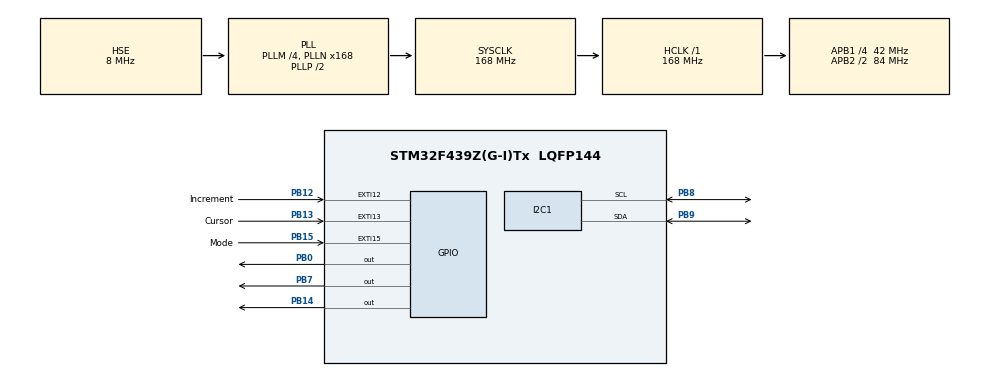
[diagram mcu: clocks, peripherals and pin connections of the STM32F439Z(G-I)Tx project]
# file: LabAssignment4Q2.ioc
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Mcu.Family=STM32F4
Mcu.Name=STM32F439Z(G-I)Tx
Mcu.Package=LQFP144
NVIC.EXTI15_10_IRQn=true\:0\:0\:false\:false\:true\:true\:true\:true
NVIC.I2C1_ER_IRQn=true\:0\:0\:false\:false\:true\:true\:true\:true
NVIC.I2C1_EV_IRQn=true\:0\:0\:false\:false\:true\:true\:true\:true
NVIC.PriorityGroup=NVIC_PRIORITYGROUP_4
NVIC.RTC_Alarm_IRQn=true\:0\:0\:false\:false\:true\:true\:true\:true
NVIC.TIM2_IRQn=true\:0\:0\:false\:false\:true\:true\:true\:true
PB0.Signal=GPIO_Output
PB12.GPIO_Label=Increment
PB12.GPIO_ModeDefaultEXTI=GPIO_MODE_IT_FALLING
PB12.GPIO_PuPd=GPIO_PULLUP
PB12.Signal=GPXTI12
PB13.GPIO_Label=Cursor
PB13.GPIO_ModeDefaultEXTI=GPIO_MODE_IT_FALLING
PB13.GPIO_PuPd=GPIO_PULLUP
PB13.Signal=GPXTI13
PB14.Signal=GPIO_Output
PB15.GPIO_Label=Mode
PB15.GPIO_ModeDefaultEXTI=GPIO_MODE_IT_FALLING
PB15.GPIO_PuPd=GPIO_PULLUP
PB15.Signal=GPXTI15
PB7.Signal=GPIO_Output
PB8.Mode=I2C
PB8.Signal=I2C1_SCL
PB9.Mode=I2C
PB9.Signal=I2C1_SDA
PH0/OSC_IN.Mode=HSE-External-Oscillator
PH0/OSC_IN.Signal=RCC_OSC_IN
PH1/OSC_OUT.Mode=HSE-External-Oscillator
PH1/OSC_OUT.Signal=RCC_OSC_OUT
ProjectManager.HeapSize=0x200
ProjectManager.StackSize=0x400
ProjectManager.TargetToolchain=STM32CubeIDE
RCC.48MHZClocksFreq_Value=48000000
RCC.AHBFreq_Value=168000000
RCC.APB1CLKDivider=RCC_HCLK_DIV4
RCC.APB1Freq_Value=42000000
RCC.APB1TimFreq_Value=84000000
RCC.APB2CLKDivider=RCC_HCLK_DIV2
RCC.APB2Freq_Value=84000000
RCC.APB2TimCLKDivider=2
RCC.APB2TimFreq_Value=168000000
RCC.CortexFreq_Value=168000000
RCC.HCLKFreq_Value=168000000
RCC.HSE_VALUE=8000000
RCC.HSI_VALUE=16000000
RCC.LSE_VALUE=32768
RCC.PLLM=4
RCC.PLLMUL=RCC_PLL_MUL9
RCC.PLLN=168
RCC.PLLQ=7
RCC.PLLSourceVirtual=RCC_PLLSOURCE_HSE
RCC.PRESCALERUSB=RCC_USBCLKSOURCE_PLL_DIV1_5
RCC.SYSCLKFreq_VALUE=168000000
RCC.SYSCLKSource=RCC_SYSCLKSOURCE_PLLCLK
RCC.SYSCLKSourceVirtual=RCC_SYSCLKSOURCE_PLLCLK
RCC.USBFreq_Value=48000000
RCC.VCOOutputFreq_Value=336000000
RTC.Alarm=RTC_ALARM_A
RTC.Format=RTC_FORMAT_BCD
RTC.SynchPrediv=255
TIM2.Period=9999
TIM2.Prescaler=8399
VP_RTC_VS_RTC_Activate.Mode=RTC_Enabled
VP_RTC_VS_RTC_Alarm_A_Intern.Mode=Alarm A
VP_RTC_VS_RTC_Calendar.Mode=RTC_Calendar
VP_TIM2_VS_ClockSourceINT.Mode=Internal
board=NUCLEO-F439ZI

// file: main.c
/* USER CODE BEGIN Header */
/**
  ******************************************************************************
  * @file           : main.c
  * @brief          : Main program body
  ******************************************************************************
  * @attention
  *
  * Copyright (c) 2025 STMicroelectronics.
  * All rights reserved.
  *
  * This software is licensed under terms that can be found in the LICENSE file
  * in the root directory of this software component.
  * If no LICENSE file comes with this software, it is provided AS-IS.
  *
  ******************************************************************************
  */
/* USER CODE END Header */
#include "main.h"

/* USER CODE BEGIN Includes */
#include <stdio.h>
#include "string.h"
#include "lcd16x2_i2c.h"
/* USER CODE END Includes */

I2C_HandleTypeDef hi2c1;

RTC_HandleTypeDef hrtc;

TIM_HandleTypeDef htim2;

/* USER CODE BEGIN PV */

uint8_t mode = 0; // 0: Normal Display, 1: Time Setting, 2: Alarm Setting
uint8_t hours = 0, minutes = 0, seconds = 0;
uint8_t alarm_hours = 0, alarm_minutes = 0;
uint8_t alarm_set = 0; // 0: OFF, 1: ON
uint8_t alarm_active = 0;
uint8_t cursor_position = 1; // 0: Hours, 1: Minutes
uint32_t lastPressTick = 0;
#define DEBOUNCE_DELAY 200

//uint8_t alarm_triggered = 0;

/* USER CODE END PV */

void SystemClock_Config(void);
static void MX_GPIO_Init(void);
static void MX_I2C1_Init(void);
static void MX_TIM2_Init(void);
static void MX_RTC_Init(void);
/* USER CODE BEGIN PFP */

void update_display() {
	char buffer[16];
	sprintf(buffer, "%02d:%02d:%02d", hours, minutes, seconds);
	lcd16x2_i2c_setCursor(0, 0);
	lcd16x2_i2c_printf(buffer);

	if (alarm_active) {
	    lcd16x2_i2c_setCursor(1, 0);
	    lcd16x2_i2c_printf("ALARM!         ");
	    return;
	}

	if (mode == 0){  // normal mode
		if (alarm_set)
			sprintf(buffer, "Alarm:%02d:%02d ON", alarm_hours, alarm_minutes);
		else {
			sprintf(buffer, "Alarm: OFF     ");
		}
		lcd16x2_i2c_setCursor(1, 0);
		lcd16x2_i2c_printf(buffer);
	}

	else if (mode == 1) { // time setting mode
	// display cursor under hours/minutes
		if (cursor_position == 1){
			lcd16x2_i2c_setCursor(1, 0);
			lcd16x2_i2c_printf("    ^          "); // Cursor under minutes
		}
		else {
			lcd16x2_i2c_setCursor(1, 0);
			lcd16x2_i2c_printf(" ^             "); // Cursor under hours
		}
	}

	else { // alarm setting mode
		if (cursor_position == 1){
			sprintf(buffer, "Alarm:%02d:%02dM", alarm_hours, alarm_minutes);
			lcd16x2_i2c_setCursor(1, 0);
			lcd16x2_i2c_printf(buffer);
		}
		else {
			sprintf(buffer, "Alarm:%02d:%02dH", alarm_hours, alarm_minutes);
			lcd16x2_i2c_setCursor(1, 0);
			lcd16x2_i2c_printf(buffer);
		}
	}
}

void HAL_TIM_PeriodElapsedCallback(TIM_HandleTypeDef *htim) {
      if (htim->Instance == TIM2) {
    	  // increment time
          seconds++;
          if (seconds == 60) {
              seconds = 0;
              minutes++;
              if (minutes == 60) {
                  minutes = 0;
                  hours = (hours + 1) % 24;
              }

          }
          // turn on alarm
          if (alarm_set && hours == alarm_hours && minutes == alarm_minutes && seconds == 0) {
              alarm_active = 1;
          }
          update_display();
      }
}

void HAL_GPIO_EXTI_Callback(uint16_t GPIO_Pin) {
    uint32_t currentTick = HAL_GetTick(); // returns time in ms
    if ((currentTick - lastPressTick) < DEBOUNCE_DELAY) {
        return;
    }
    lastPressTick = currentTick;

    if (alarm_active) { //else if the alarm is active, cancel it and return to mode 0
        alarm_active = 0;
        mode = 0;
        update_display();
        return;
    }

     if (GPIO_Pin == Mode_Pin) { // mode button pressed
         mode = (mode + 1) % 3;
     }

     else if (GPIO_Pin == Cursor_Pin) {  // cursor button pressed
          if (mode == 2) { // if alarm setting, then set/reset alarm
        	  if (alarm_set == 0) alarm_set = 1;
        	  else alarm_set = 0;
          }
          else { // else cursor button is used to change ursor position
        	  cursor_position ^= 1;
          }
     }

     else if (GPIO_Pin == Increment_Pin) { // increment button pressed
          if (mode == 1) {   // time setting
        	  if (cursor_position == 0) { // cursor on hour
        		  hours = (hours + 1) % 24;
        	  }
        	  else { // cursor on minute
        		  minutes = (minutes + 1) % 60;
        		  if (minutes == 0) {
        			  hours = (hours + 1) % 24;
        		  }
        	  }
          }
          else if (mode == 2) { // alarm setting
        	  if (cursor_position == 0) {
        		  alarm_hours = (alarm_hours + 1) % 24;
        	  }
        	  else {
        		  alarm_minutes = (alarm_minutes + 1) % 60;
        		  if (alarm_minutes == 0) {
        			  alarm_hours = (alarm_hours + 1) % 24;
        		  }
        	  }
          }
     }
     update_display();
}

void alarm_blink() {
	//if (alarm_active) {
		for (int i = 0; i < 60; i++) {
		    if (!alarm_active) {
		    	HAL_GPIO_WritePin(GPIOB, GPIO_PIN_0, 0);
		    	HAL_GPIO_WritePin(GPIOB, GPIO_PIN_7, 0);
		    	HAL_GPIO_WritePin(GPIOB, GPIO_PIN_14, 0);
		        break;  // exit the blinking loop
		    }
			HAL_GPIO_TogglePin(GPIOB, GPIO_PIN_0);
			HAL_GPIO_TogglePin(GPIOB, GPIO_PIN_7);
			HAL_GPIO_TogglePin(GPIOB, GPIO_PIN_14);
//			lcd16x2_i2c_setCursor(1, 0);
//			lcd16x2_i2c_printf("ALARM!!         ");
			HAL_Delay(500);
		}
		alarm_active = 0; // after 30s have passed
	//}
}
/* USER CODE END PFP */

int main(void)
{

  /* MCU Configuration--------------------------------------------------------*/

  /* Reset of all peripherals, Initializes the Flash interface and the Systick. */
  HAL_Init();

  /* Configure the system clock */
  SystemClock_Config();

  /* Initialize all configured peripherals */
  MX_GPIO_Init();
  MX_I2C1_Init();
  MX_TIM2_Init();
  MX_RTC_Init();
  /* USER CODE BEGIN 2 */
  lcd16x2_i2c_init(&hi2c1);
  update_display();
  HAL_TIM_Base_Start_IT(&htim2);
  /* USER CODE END 2 */

  /* Infinite loop */
  while (1)
  {

    /* USER CODE BEGIN 3 */
	  if (alarm_active) {
		  alarm_blink();
	  }
  }
  /* USER CODE END 3 */
}

void SystemClock_Config(void)
{
  RCC_OscInitTypeDef RCC_OscInitStruct = {0};
  RCC_ClkInitTypeDef RCC_ClkInitStruct = {0};

  /** Configure the main internal regulator output voltage
  */
  __HAL_RCC_PWR_CLK_ENABLE();
  __HAL_PWR_VOLTAGESCALING_CONFIG(PWR_REGULATOR_VOLTAGE_SCALE1);

  /** Initializes the RCC Oscillators according to the specified parameters
  * in the RCC_OscInitTypeDef structure.
  */
  RCC_OscInitStruct.OscillatorType = RCC_OSCILLATORTYPE_LSI|RCC_OSCILLATORTYPE_HSE;
  RCC_OscInitStruct.HSEState = RCC_HSE_ON;
  RCC_OscInitStruct.LSIState = RCC_LSI_ON;
  RCC_OscInitStruct.PLL.PLLState = RCC_PLL_ON;
  RCC_OscInitStruct.PLL.PLLSource = RCC_PLLSOURCE_HSE;
  RCC_OscInitStruct.PLL.PLLM = 4;
  RCC_OscInitStruct.PLL.PLLN = 168;
  RCC_OscInitStruct.PLL.PLLP = RCC_PLLP_DIV2;
  RCC_OscInitStruct.PLL.PLLQ = 7;
  if (HAL_RCC_OscConfig(&RCC_OscInitStruct) != HAL_OK)
  {
    Error_Handler();
  }

  /** Initializes the CPU, AHB and APB buses clocks
  */
  RCC_ClkInitStruct.ClockType = RCC_CLOCKTYPE_HCLK|RCC_CLOCKTYPE_SYSCLK
                              |RCC_CLOCKTYPE_PCLK1|RCC_CLOCKTYPE_PCLK2;
  RCC_ClkInitStruct.SYSCLKSource = RCC_SYSCLKSOURCE_PLLCLK;
  RCC_ClkInitStruct.AHBCLKDivider = RCC_SYSCLK_DIV1;
  RCC_ClkInitStruct.APB1CLKDivider = RCC_HCLK_DIV4;
  RCC_ClkInitStruct.APB2CLKDivider = RCC_HCLK_DIV2;

  if (HAL_RCC_ClockConfig(&RCC_ClkInitStruct, FLASH_LATENCY_5) != HAL_OK)
  {
    Error_Handler();
  }
}

static void MX_I2C1_Init(void)
{

  hi2c1.Instance = I2C1;
  hi2c1.Init.ClockSpeed = 100000;
  hi2c1.Init.DutyCycle = I2C_DUTYCYCLE_2;
  hi2c1.Init.OwnAddress1 = 0;
  hi2c1.Init.AddressingMode = I2C_ADDRESSINGMODE_7BIT;
  hi2c1.Init.DualAddressMode = I2C_DUALADDRESS_DISABLE;
  hi2c1.Init.OwnAddress2 = 0;
  hi2c1.Init.GeneralCallMode = I2C_GENERALCALL_DISABLE;
  hi2c1.Init.NoStretchMode = I2C_NOSTRETCH_DISABLE;
  if (HAL_I2C_Init(&hi2c1) != HAL_OK)
  {
    Error_Handler();
  }

  /** Configure Analogue filter
  */
  if (HAL_I2CEx_ConfigAnalogFilter(&hi2c1, I2C_ANALOGFILTER_ENABLE) != HAL_OK)
  {
    Error_Handler();
  }

  /** Configure Digital filter
  */
  if (HAL_I2CEx_ConfigDigitalFilter(&hi2c1, 0) != HAL_OK)
  {
    Error_Handler();
  }

}

static void MX_RTC_Init(void)
{

  RTC_TimeTypeDef sTime = {0};
  RTC_DateTypeDef sDate = {0};
  RTC_AlarmTypeDef sAlarm = {0};

  /** Initialize RTC Only
  */
  hrtc.Instance = RTC;
  hrtc.Init.HourFormat = RTC_HOURFORMAT_24;
  hrtc.Init.AsynchPrediv = 127;
  hrtc.Init.SynchPrediv = 255;
  hrtc.Init.OutPut = RTC_OUTPUT_DISABLE;
  hrtc.Init.OutPutPolarity = RTC_OUTPUT_POLARITY_HIGH;
  hrtc.Init.OutPutType = RTC_OUTPUT_TYPE_OPENDRAIN;
  if (HAL_RTC_Init(&hrtc) != HAL_OK)
  {
    Error_Handler();
  }

  /** Initialize RTC and set the Time and Date
  */
  sTime.Hours = 0x0;
  sTime.Minutes = 0x0;
  sTime.Seconds = 0x0;
  sTime.DayLightSaving = RTC_DAYLIGHTSAVING_NONE;
  sTime.StoreOperation = RTC_STOREOPERATION_RESET;
  if (HAL_RTC_SetTime(&hrtc, &sTime, RTC_FORMAT_BCD) != HAL_OK)
  {
    Error_Handler();
  }
  sDate.WeekDay = RTC_WEEKDAY_MONDAY;
  sDate.Month = RTC_MONTH_JANUARY;
  sDate.Date = 0x1;
  sDate.Year = 0x0;

  if (HAL_RTC_SetDate(&hrtc, &sDate, RTC_FORMAT_BCD) != HAL_OK)
  {
    Error_Handler();
  }

  /** Enable the Alarm A
  */
  sAlarm.AlarmTime.Hours = 0x0;
  sAlarm.AlarmTime.Minutes = 0x0;
  sAlarm.AlarmTime.Seconds = 0x0;
  sAlarm.AlarmTime.SubSeconds = 0x0;
  sAlarm.AlarmTime.DayLightSaving = RTC_DAYLIGHTSAVING_NONE;
  sAlarm.AlarmTime.StoreOperation = RTC_STOREOPERATION_RESET;
  sAlarm.AlarmMask = RTC_ALARMMASK_NONE;
  sAlarm.AlarmSubSecondMask = RTC_ALARMSUBSECONDMASK_ALL;
  sAlarm.AlarmDateWeekDaySel = RTC_ALARMDATEWEEKDAYSEL_DATE;
  sAlarm.AlarmDateWeekDay = 0x1;
  sAlarm.Alarm = RTC_ALARM_A;
  if (HAL_RTC_SetAlarm_IT(&hrtc, &sAlarm, RTC_FORMAT_BCD) != HAL_OK)
  {
    Error_Handler();
  }

}

static void MX_TIM2_Init(void)
{

  TIM_ClockConfigTypeDef sClockSourceConfig = {0};
  TIM_MasterConfigTypeDef sMasterConfig = {0};

  htim2.Instance = TIM2;
  htim2.Init.Prescaler = 8399;
  htim2.Init.CounterMode = TIM_COUNTERMODE_UP;
  htim2.Init.Period = 9999;
  htim2.Init.ClockDivision = TIM_CLOCKDIVISION_DIV1;
  htim2.Init.AutoReloadPreload = TIM_AUTORELOAD_PRELOAD_DISABLE;
  if (HAL_TIM_Base_Init(&htim2) != HAL_OK)
  {
    Error_Handler();
  }
  sClockSourceConfig.ClockSource = TIM_CLOCKSOURCE_INTERNAL;
  if (HAL_TIM_ConfigClockSource(&htim2, &sClockSourceConfig) != HAL_OK)
  {
    Error_Handler();
  }
  sMasterConfig.MasterOutputTrigger = TIM_TRGO_RESET;
  sMasterConfig.MasterSlaveMode = TIM_MASTERSLAVEMODE_DISABLE;
  if (HAL_TIMEx_MasterConfigSynchronization(&htim2, &sMasterConfig) != HAL_OK)
  {
    Error_Handler();
  }

}

static void MX_GPIO_Init(void)
{
  GPIO_InitTypeDef GPIO_InitStruct = {0};

  /* GPIO Ports Clock Enable */
  __HAL_RCC_GPIOH_CLK_ENABLE();
  __HAL_RCC_GPIOB_CLK_ENABLE();

  /*Configure GPIO pin Output Level */
  HAL_GPIO_WritePin(GPIOB, GPIO_PIN_0|GPIO_PIN_14|GPIO_PIN_7, GPIO_PIN_RESET);

  /*Configure GPIO pins : PB0 PB14 PB7 */
  GPIO_InitStruct.Pin = GPIO_PIN_0|GPIO_PIN_14|GPIO_PIN_7;
  GPIO_InitStruct.Mode = GPIO_MODE_OUTPUT_PP;
  GPIO_InitStruct.Pull = GPIO_NOPULL;
  GPIO_InitStruct.Speed = GPIO_SPEED_FREQ_LOW;
  HAL_GPIO_Init(GPIOB, &GPIO_InitStruct);

  /*Configure GPIO pins : Increment_Pin Cursor_Pin Mode_Pin */
  GPIO_InitStruct.Pin = Increment_Pin|Cursor_Pin|Mode_Pin;
  GPIO_InitStruct.Mode = GPIO_MODE_IT_FALLING;
  GPIO_InitStruct.Pull = GPIO_PULLUP;
  HAL_GPIO_Init(GPIOB, &GPIO_InitStruct);

  /* EXTI interrupt init*/
  HAL_NVIC_SetPriority(EXTI15_10_IRQn, 0, 0);
  HAL_NVIC_EnableIRQ(EXTI15_10_IRQn);

}

void Error_Handler(void)
{
  __disable_irq();
  while (1)
  {
  }
}
